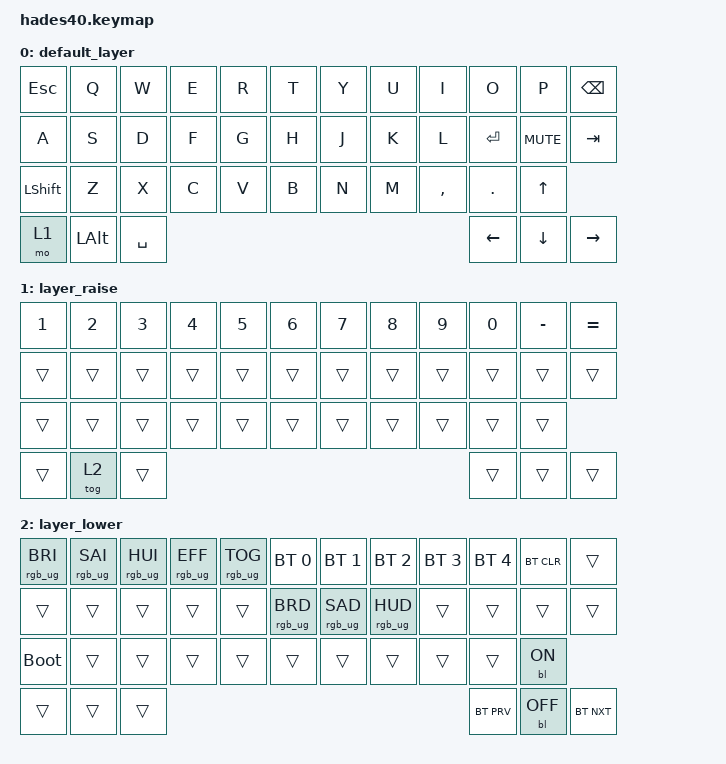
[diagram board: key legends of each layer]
/*
 * Copyright (c) 2020 The ZMK Contributors
 *
 * SPDX-License-Identifier: MIT
 */
/* THIS FILE WAS GENERATED!
 *
 * This file was generated automatically. You may or may not want to
 * edit it directly.
 */

#include <behaviors.dtsi>
#include <dt-bindings/zmk/keys.h>
#include <dt-bindings/zmk/rgb.h>
#include <dt-bindings/zmk/bt.h>
#include <dt-bindings/zmk/backlight.h>

/ {
    keymap {
        compatible = "zmk,keymap";

        default_layer {
            bindings = <
  &kp ESC     &kp Q  &kp W  &kp E  &kp R      &kp T  &kp Y  &kp U      &kp I    &kp O      &kp P    &kp BSPC
              &kp A  &kp S  &kp D  &kp F      &kp G  &kp H  &kp J      &kp K    &kp L  &kp ENTER  &kp K_MUTE  &kp TAB
&kp LSHFT     &kp Z  &kp X  &kp C  &kp V      &kp B  &kp N  &kp M  &kp COMMA  &kp DOT     &kp UP
    &mo 1  &kp LALT                       &kp SPACE                 &kp LEFT            &kp DOWN   &kp RIGHT
            >;
        };

        layer_raise {
            bindings = <
&kp NUMBER_1  &kp NUMBER_2  &kp NUMBER_3  &kp NUMBER_4  &kp NUMBER_5  &kp NUMBER_6  &kp NUMBER_7  &kp NUMBER_8  &kp NUMBER_9  &kp NUMBER_0  &kp MINUS  &kp EQUAL
                    &trans        &trans        &trans        &trans        &trans        &trans        &trans        &trans        &trans     &trans     &trans  &trans
      &trans        &trans        &trans        &trans        &trans        &trans        &trans        &trans        &trans        &trans     &trans
      &trans        &tog 2                                                  &trans                                    &trans                   &trans     &trans
            >;
        };

        layer_lower {
            bindings = <
&rgb_ug RGB_BRI  &rgb_ug RGB_SAI  &rgb_ug RGB_HUI  &rgb_ug RGB_EFF  &rgb_ug RGB_TOG  &bt BT_SEL 0     &bt BT_SEL 1     &bt BT_SEL 2     &bt BT_SEL 3  &bt BT_SEL 4  &bt BT_CLR      &trans
                          &trans           &trans           &trans           &trans        &trans  &rgb_ug RGB_BRD  &rgb_ug RGB_SAD  &rgb_ug RGB_HUD        &trans      &trans      &trans  &trans
    &bootloader           &trans           &trans           &trans           &trans        &trans           &trans           &trans           &trans        &trans   &bl BL_ON
         &trans           &trans                                                           &trans                                         &bt BT_PRV                &bl BL_OFF  &bt BT_NXT
            >;
        };
    };
};
